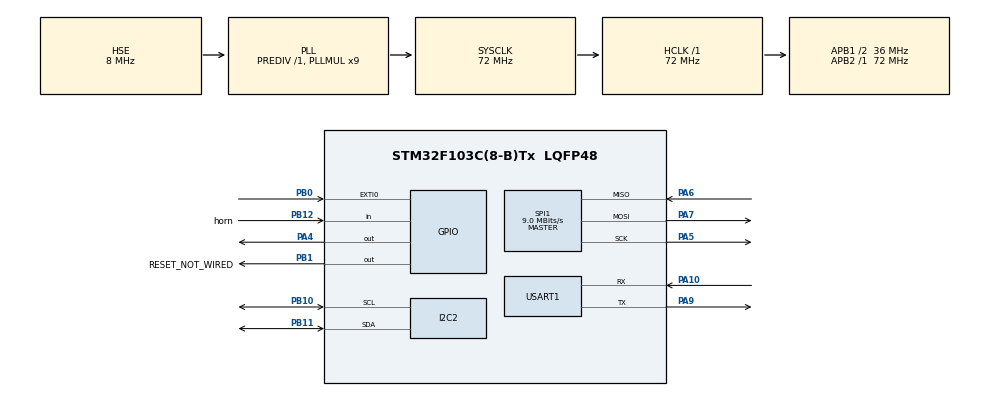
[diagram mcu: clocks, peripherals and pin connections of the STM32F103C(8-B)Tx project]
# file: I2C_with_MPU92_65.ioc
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I2C2.I2C_Mode=I2C_Fast
Mcu.Family=STM32F1
Mcu.Name=STM32F103C(8-B)Tx
Mcu.Package=LQFP48
NVIC.PriorityGroup=NVIC_PRIORITYGROUP_4
PA10.Mode=Asynchronous
PA10.Signal=USART1_RX
PA13.Mode=Serial_Wire
PA13.Signal=SYS_JTMS-SWDIO
PA14.Mode=Serial_Wire
PA14.Signal=SYS_JTCK-SWCLK
PA4.PinState=GPIO_PIN_SET
PA4.Signal=GPIO_Output
PA5.Mode=Full_Duplex_Master
PA5.Signal=SPI1_SCK
PA6.Mode=Full_Duplex_Master
PA6.Signal=SPI1_MISO
PA7.Mode=Full_Duplex_Master
PA7.Signal=SPI1_MOSI
PA9.Mode=Asynchronous
PA9.Signal=USART1_TX
PB0.Signal=GPXTI0
PB1.GPIO_Label=RESET_NOT_WIRED
PB1.PinState=GPIO_PIN_SET
PB1.Signal=GPIO_Output
PB10.Mode=I2C
PB10.Signal=I2C2_SCL
PB11.Mode=I2C
PB11.Signal=I2C2_SDA
PB12.GPIO_Label=horn
PB12.Signal=GPIO_Input
PC14-OSC32_IN.Mode=LSE-External-Oscillator
PC14-OSC32_IN.Signal=RCC_OSC32_IN
PC15-OSC32_OUT.Mode=LSE-External-Oscillator
PC15-OSC32_OUT.Signal=RCC_OSC32_OUT
PD0-OSC_IN.Mode=HSE-External-Oscillator
PD0-OSC_IN.Signal=RCC_OSC_IN
PD1-OSC_OUT.Mode=HSE-External-Oscillator
PD1-OSC_OUT.Signal=RCC_OSC_OUT
ProjectManager.HeapSize=0x200
ProjectManager.StackSize=0x400
ProjectManager.TargetToolchain=STM32CubeIDE
RCC.AHBFreq_Value=72000000
RCC.APB1CLKDivider=RCC_HCLK_DIV2
RCC.APB1Freq_Value=36000000
RCC.APB1TimFreq_Value=72000000
RCC.APB2Freq_Value=72000000
RCC.APB2TimFreq_Value=72000000
RCC.HCLKFreq_Value=72000000
RCC.PLLMUL=RCC_PLL_MUL9
RCC.PLLSourceVirtual=RCC_PLLSOURCE_HSE
RCC.SYSCLKFreq_VALUE=72000000
RCC.SYSCLKSource=RCC_SYSCLKSOURCE_PLLCLK
RCC.USBFreq_Value=72000000
SPI1.BaudRatePrescaler=SPI_BAUDRATEPRESCALER_8
SPI1.CalculateBaudRate=9.0 MBits/s
SPI1.Direction=SPI_DIRECTION_2LINES
SPI1.Mode=SPI_MODE_MASTER
SPI1.VirtualType=VM_MASTER
USART1.VirtualMode=VM_ASYNC
board=custom

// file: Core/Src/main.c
/* USER CODE BEGIN Header */
/**
  ******************************************************************************
  * @file           : main.c
  * @brief          : Main program body
  ******************************************************************************
  * @attention
  *
  * Copyright (c) 2025 STMicroelectronics.
  * All rights reserved.
  *
  * This software is licensed under terms that can be found in the LICENSE file
  * in the root directory of this software component.
  * If no LICENSE file comes with this software, it is provided AS-IS.
  *
  ******************************************************************************
  */
/* USER CODE END Header */
#include "main.h"

/* USER CODE BEGIN Includes */
#include <stdio.h>
#include "mpu6050.h"
#include "Lora.h"
/* USER CODE END Includes */

I2C_HandleTypeDef hi2c2;

SPI_HandleTypeDef hspi1;

UART_HandleTypeDef huart1;

/* USER CODE BEGIN PV */
LoRa myLoRa;
uint8_t LoRa_stat = 0;

MPU6050_t MPU6050;
/* USER CODE END PV */

void SystemClock_Config(void);
static void MX_GPIO_Init(void);
static void MX_I2C2_Init(void);
static void MX_USART1_UART_Init(void);
static void MX_SPI1_Init(void);

/* USER CODE BEGIN 0 */

int fputc(int ch, FILE *f) {
    ITM_SendChar(ch);
    return ch;
}

extern UART_HandleTypeDef huart1;  // make sure this matches your USART handle

int _write(int file, char *ptr, int len)
{
    HAL_UART_Transmit(&huart1, (uint8_t*)ptr, len, HAL_MAX_DELAY);
    return len;
}

/* USER CODE END 0 */

int main(void)
{

  /* USER CODE BEGIN 1 */
	uint8_t mpu_ok  = 0;
	uint8_t lora_ok = 0;

	float roll_offset = 0;
	float pitch_offset = 0;
  /* USER CODE END 1 */

  /* MCU Configuration--------------------------------------------------------*/

  /* Reset of all peripherals, Initializes the Flash interface and the Systick. */
  HAL_Init();

  /* Configure the system clock */
  SystemClock_Config();

  /* Initialize all configured peripherals */
  MX_GPIO_Init();
  MX_I2C2_Init();
  MX_USART1_UART_Init();
  MX_SPI1_Init();
  /* USER CODE BEGIN 2 */

  extern uint32_t timer;
  timer = HAL_GetTick();

  myLoRa = newLoRa();

  myLoRa.CS_port         = GPIOA;
  myLoRa.CS_pin          = GPIO_PIN_4;
  myLoRa.reset_port      = GPIOB;
  myLoRa.reset_pin       = GPIO_PIN_1;
  myLoRa.hSPIx           = &hspi1;

//  myLoRa.CS_port         = GPIOA;
//  myLoRa.CS_pin          = GPIO_PIN_4;
//  myLoRa.reset_port      = GPIOB;
//  myLoRa.reset_pin       = GPIO_PIN_1;
  myLoRa.DIO0_port       = GPIOB;
  myLoRa.DIO0_pin        = GPIO_PIN_0;
//  myLoRa.hSPIx           = &hspi1;

  myLoRa.frequency             = 433;             // default = 433 MHz
  myLoRa.spredingFactor        = SF_7;            // default = SF_7
  myLoRa.bandWidth             = BW_125KHz;       // default = BW_125KHz
  myLoRa.crcRate               = CR_4_5;          // default = CR_4_5
  myLoRa.power                 = POWER_20db;      // default = 20db
  myLoRa.overCurrentProtection = 100;             // default = 100 mA
  myLoRa.preamble              = 8;              // default = 8;

  printf("Initializing LoRa...\r\n");

  while (!lora_ok)
  {
      if (LoRa_init(&myLoRa) == LORA_OK)
      {
          lora_ok = 1;
          printf("LoRa initialized successfully\r\n");
      }
      else
      {
          printf("LoRa init failed, retrying...\r\n");
          HAL_Delay(500);
      }
  }

  uint8_t txBuffer[50];

  HAL_Delay(1000);
  MPU6050_Read_All(&hi2c2, &MPU6050);
  roll_offset  = MPU6050.KalmanAngleX;
  pitch_offset = MPU6050.KalmanAngleY;

  int counter = 0; // Define a counter

  printf("Initializing MPU6050...\r\n");

  while (!mpu_ok)
  {
      if (MPU6050_Init(&hi2c2) == 0)
      {
          mpu_ok = 1;
          printf("MPU6050 initialized successfully\r\n");
      }
      else
      {
          printf("MPU6050 init failed, retrying...\r\n");
          HAL_Delay(500);
      }
  }
  int hornStatus = 0;
  /* USER CODE END 2 */

  /* Infinite loop */
  while (1)
  {

    /* USER CODE BEGIN 3 */
	  int hornStatus = HAL_GPIO_ReadPin(GPIOB, GPIO_PIN_12);

	  // main loop
	  MPU6050_Read_All(&hi2c2, &MPU6050);
	  float roll  = MPU6050.KalmanAngleX - roll_offset;
	  float pitch = MPU6050.KalmanAngleY - pitch_offset;

	  uint8_t len = sprintf((char*)txBuffer,
	                        "R=%.2f,P=%.2f,H=%d",
	                        roll, pitch, hornStatus);

	  printf("Sending: %s\r\n", txBuffer);

	  if (LoRa_transmit(&myLoRa, txBuffer, len, 1000))
	  {
	      printf("LoRa Send Success!\r\n");
	  }
	  else
	  {
	      printf("LoRa Send Failed (Timeout)\r\n");
	  }

	        counter++; // Increment counter

	         HAL_Delay(200);
  }
  /* USER CODE END 3 */
}

void SystemClock_Config(void)
{
  RCC_OscInitTypeDef RCC_OscInitStruct = {0};
  RCC_ClkInitTypeDef RCC_ClkInitStruct = {0};

  /** Initializes the RCC Oscillators according to the specified parameters
  * in the RCC_OscInitTypeDef structure.
  */
  RCC_OscInitStruct.OscillatorType = RCC_OSCILLATORTYPE_HSE;
  RCC_OscInitStruct.HSEState = RCC_HSE_ON;
  RCC_OscInitStruct.HSEPredivValue = RCC_HSE_PREDIV_DIV1;
  RCC_OscInitStruct.HSIState = RCC_HSI_ON;
  RCC_OscInitStruct.PLL.PLLState = RCC_PLL_ON;
  RCC_OscInitStruct.PLL.PLLSource = RCC_PLLSOURCE_HSE;
  RCC_OscInitStruct.PLL.PLLMUL = RCC_PLL_MUL9;
  if (HAL_RCC_OscConfig(&RCC_OscInitStruct) != HAL_OK)
  {
    Error_Handler();
  }

  /** Initializes the CPU, AHB and APB buses clocks
  */
  RCC_ClkInitStruct.ClockType = RCC_CLOCKTYPE_HCLK|RCC_CLOCKTYPE_SYSCLK
                              |RCC_CLOCKTYPE_PCLK1|RCC_CLOCKTYPE_PCLK2;
  RCC_ClkInitStruct.SYSCLKSource = RCC_SYSCLKSOURCE_PLLCLK;
  RCC_ClkInitStruct.AHBCLKDivider = RCC_SYSCLK_DIV1;
  RCC_ClkInitStruct.APB1CLKDivider = RCC_HCLK_DIV2;
  RCC_ClkInitStruct.APB2CLKDivider = RCC_HCLK_DIV1;

  if (HAL_RCC_ClockConfig(&RCC_ClkInitStruct, FLASH_LATENCY_2) != HAL_OK)
  {
    Error_Handler();
  }
}

static void MX_I2C2_Init(void)
{

  hi2c2.Instance = I2C2;
  hi2c2.Init.ClockSpeed = 400000;
  hi2c2.Init.DutyCycle = I2C_DUTYCYCLE_2;
  hi2c2.Init.OwnAddress1 = 0;
  hi2c2.Init.AddressingMode = I2C_ADDRESSINGMODE_7BIT;
  hi2c2.Init.DualAddressMode = I2C_DUALADDRESS_DISABLE;
  hi2c2.Init.OwnAddress2 = 0;
  hi2c2.Init.GeneralCallMode = I2C_GENERALCALL_DISABLE;
  hi2c2.Init.NoStretchMode = I2C_NOSTRETCH_DISABLE;
  if (HAL_I2C_Init(&hi2c2) != HAL_OK)
  {
    Error_Handler();
  }

}

static void MX_SPI1_Init(void)
{

  /* SPI1 parameter configuration*/
  hspi1.Instance = SPI1;
  hspi1.Init.Mode = SPI_MODE_MASTER;
  hspi1.Init.Direction = SPI_DIRECTION_2LINES;
  hspi1.Init.DataSize = SPI_DATASIZE_8BIT;
  hspi1.Init.CLKPolarity = SPI_POLARITY_LOW;
  hspi1.Init.CLKPhase = SPI_PHASE_1EDGE;
  hspi1.Init.NSS = SPI_NSS_SOFT;
  hspi1.Init.BaudRatePrescaler = SPI_BAUDRATEPRESCALER_8;
  hspi1.Init.FirstBit = SPI_FIRSTBIT_MSB;
  hspi1.Init.TIMode = SPI_TIMODE_DISABLE;
  hspi1.Init.CRCCalculation = SPI_CRCCALCULATION_DISABLE;
  hspi1.Init.CRCPolynomial = 10;
  if (HAL_SPI_Init(&hspi1) != HAL_OK)
  {
    Error_Handler();
  }

}

static void MX_USART1_UART_Init(void)
{

  huart1.Instance = USART1;
  huart1.Init.BaudRate = 115200;
  huart1.Init.WordLength = UART_WORDLENGTH_8B;
  huart1.Init.StopBits = UART_STOPBITS_1;
  huart1.Init.Parity = UART_PARITY_NONE;
  huart1.Init.Mode = UART_MODE_TX_RX;
  huart1.Init.HwFlowCtl = UART_HWCONTROL_NONE;
  huart1.Init.OverSampling = UART_OVERSAMPLING_16;
  if (HAL_UART_Init(&huart1) != HAL_OK)
  {
    Error_Handler();
  }

}

static void MX_GPIO_Init(void)
{
  GPIO_InitTypeDef GPIO_InitStruct = {0};

  /* GPIO Ports Clock Enable */
  __HAL_RCC_GPIOC_CLK_ENABLE();
  __HAL_RCC_GPIOD_CLK_ENABLE();
  __HAL_RCC_GPIOA_CLK_ENABLE();
  __HAL_RCC_GPIOB_CLK_ENABLE();

  /*Configure GPIO pin Output Level */
  HAL_GPIO_WritePin(GPIOA, GPIO_PIN_4, GPIO_PIN_SET);

  /*Configure GPIO pin Output Level */
  HAL_GPIO_WritePin(RESET_NOT_WIRED_GPIO_Port, RESET_NOT_WIRED_Pin, GPIO_PIN_SET);

  /*Configure GPIO pin : PA4 */
  GPIO_InitStruct.Pin = GPIO_PIN_4;
  GPIO_InitStruct.Mode = GPIO_MODE_OUTPUT_PP;
  GPIO_InitStruct.Pull = GPIO_NOPULL;
  GPIO_InitStruct.Speed = GPIO_SPEED_FREQ_LOW;
  HAL_GPIO_Init(GPIOA, &GPIO_InitStruct);

  /*Configure GPIO pin : PB0 */
  GPIO_InitStruct.Pin = GPIO_PIN_0;
  GPIO_InitStruct.Mode = GPIO_MODE_IT_RISING;
  GPIO_InitStruct.Pull = GPIO_NOPULL;
  HAL_GPIO_Init(GPIOB, &GPIO_InitStruct);

  /*Configure GPIO pin : RESET_NOT_WIRED_Pin */
  GPIO_InitStruct.Pin = RESET_NOT_WIRED_Pin;
  GPIO_InitStruct.Mode = GPIO_MODE_OUTPUT_PP;
  GPIO_InitStruct.Pull = GPIO_NOPULL;
  GPIO_InitStruct.Speed = GPIO_SPEED_FREQ_LOW;
  HAL_GPIO_Init(RESET_NOT_WIRED_GPIO_Port, &GPIO_InitStruct);

  /*Configure GPIO pin : horn_Pin */
  GPIO_InitStruct.Pin = horn_Pin;
  GPIO_InitStruct.Mode = GPIO_MODE_INPUT;
  GPIO_InitStruct.Pull = GPIO_NOPULL;
  HAL_GPIO_Init(horn_GPIO_Port, &GPIO_InitStruct);

}

void Error_Handler(void)
{
  __disable_irq();
  while (1)
  {
  }
}
